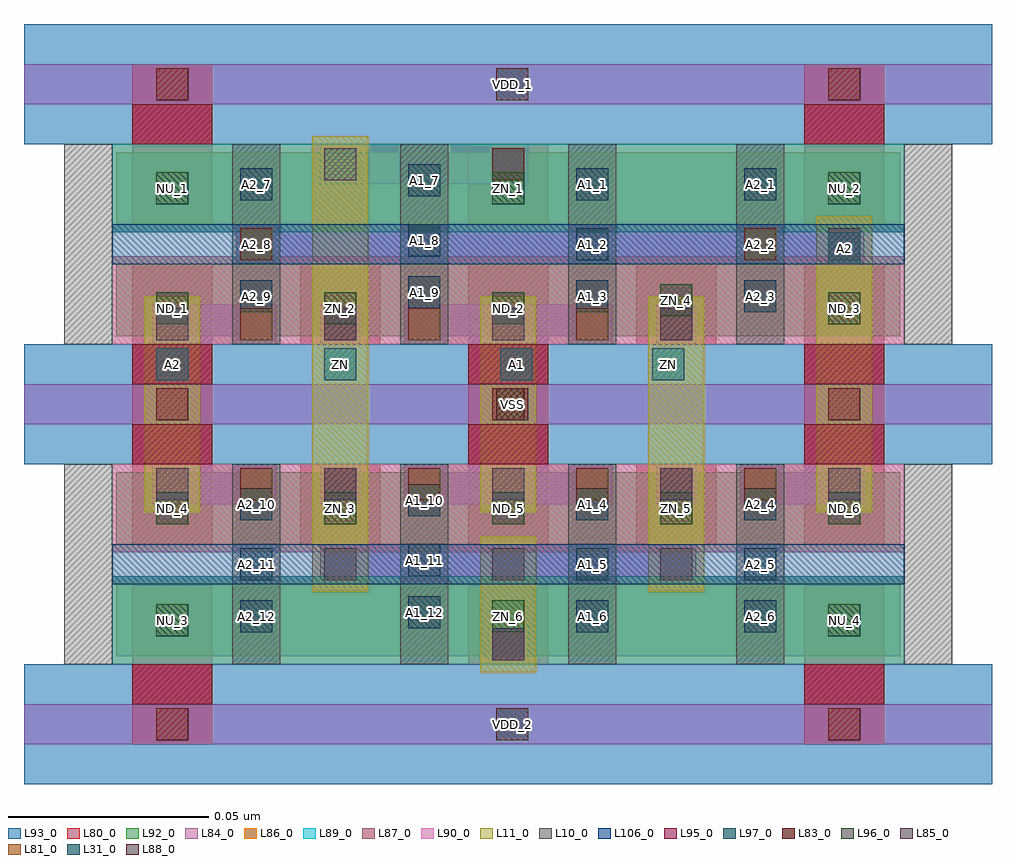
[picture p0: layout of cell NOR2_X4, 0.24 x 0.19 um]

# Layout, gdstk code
import gdstk
lib = gdstk.Library(unit=1e-6, precision=1e-09)
def R(c, l, rs):  # rectangles x0, y0, x1, y1
    for r in rs: c.add(gdstk.rectangle(r[:2], r[2:], *l))
def A(c, l, x, y, w, h, nx, ny, dx, dy):  # array of equal rectangles
    R(c, l, [(x+i*dx, y+j*dy, x+i*dx+w, y+j*dy+h) for i in range(nx) for j in range(ny)])
L10_0 = (10, 0)
L11_0 = (11, 0)
L31_0 = (31, 0)
L80_0 = (80, 0)
L81_0 = (81, 0)
L83_0 = (83, 0)
L84_0 = (84, 0)
L85_0 = (85, 0)
L86_0 = (86, 0)
L87_0 = (87, 0)
L88_0 = (88, 0)
L89_0 = (89, 0)
L90_0 = (90, 0)
L92_0 = (92, 0)
L93_0 = (93, 0)
L95_0 = (95, 0)
L96_0 = (96, 0)
L97_0 = (97, 0)
L106_0 = (106, 0)

nor2_x4 = lib.new_cell('NOR2_X4')
A(nor2_x4, L10_0, -0.027, -0.065, 0.012, 0.05, 6, 2, 0.042, 0.08)
A(nor2_x4, L11_0, -0.007, -0.027, 0.014, 0.034, 5, 2, 0.042, 0.02)
R(nor2_x4, L11_0, [(0.077,-0.067,0.091,-0.033), (0.035,-0.047,0.049,-0.013), (0.119,-0.047,0.133,-0.013), (0.035,0.013,0.049,0.047), (0.161,0.013,0.175,0.047), (0.035,0.033,0.049,0.067)])
R(nor2_x4, L31_0, [(-0.004,0.006,0.004,0.014), (0.038,0.006,0.046,0.014), (0.082,0.006,0.09,0.014), (0.12,0.006,0.128,0.014), (0.164,0.035,0.172,0.043)])
A(nor2_x4, L80_0, -0.01, -0.065, 0.02, 0.02, 3, 1, 0.084, 0)
A(nor2_x4, L80_0, -0.01, -0.024, 0.02, 0.029, 3, 1, 0.084, 0)
A(nor2_x4, L80_0, -0.01, -0.005, 0.02, 0.021, 3, 1, 0.084, 0)
A(nor2_x4, L80_0, -0.01, 0.015, 0.02, 0.02, 5, 1, 0.042, 0)
R(nor2_x4, L80_0, [(-0.01,-0.085,0.01,-0.064), (0.158,-0.085,0.178,-0.064), (-0.01,-0.035,0.01,-0.015), (-0.01,-0.035,0.01,-0.015), (0.032,-0.035,0.052,-0.015), (0.032,-0.035,0.052,-0.015), (0.074,-0.035,0.094,-0.015), (0.074,-0.035,0.094,-0.015), (0.116,-0.035,0.136,-0.015), (0.116,-0.035,0.136,-0.015), (0.158,-0.035,0.178,-0.015), (0.158,-0.035,0.178,-0.015), (-0.01,0.045,0.01,0.065), (-0.01,0.045,0.01,0.065), (0.074,0.045,0.094,0.065), (0.074,0.045,0.094,0.065), (0.158,0.045,0.178,0.065), (0.158,0.045,0.178,0.065), (-0.01,0.056,0.01,0.085), (0.158,0.056,0.178,0.085)])
A(nor2_x4, L81_0, 0.017, -0.024, 0.008, 0.008, 4, 1, 0.042, 0)
A(nor2_x4, L81_0, 0.017, 0.016, 0.008, 0.008, 3, 1, 0.042, 0)
R(nor2_x4, L81_0, [(0.017,0.036,0.025,0.044), (0.143,0.036,0.151,0.044)])
R(nor2_x4, L83_0, [(-0.004,-0.084,0.004,-0.076), (0.164,-0.084,0.172,-0.076), (0.08,-0.064,0.088,-0.056), (0.038,-0.024,0.046,-0.016), (0.122,-0.024,0.13,-0.016), (-0.004,-0.004,0.004,0.004), (-0.004,-0.004,0.004,0.004), (0.08,-0.004,0.088,0.004), (0.08,-0.004,0.088,0.004), (0.164,-0.004,0.172,0.004), (0.164,-0.004,0.172,0.004), (0.038,0.016,0.046,0.024), (0.122,0.016,0.13,0.024), (0.08,0.056,0.088,0.064), (-0.004,0.076,0.004,0.084), (0.164,0.076,0.172,0.084)])
A(nor2_x4, L84_0, -0.037, -0.085, 0.242, 0.01, 1, 3, 0, 0.08)
A(nor2_x4, L84_0, 0.037, -0.045, 0.031, 0.01, 4, 1, 0.021, 0)
A(nor2_x4, L84_0, 0.058, -0.025, 0.031, 0.01, 1, 3, 0, 0.04)
A(nor2_x4, L84_0, 0.016, 0.035, 0.031, 0.01, 7, 1, 0.021, 0)
R(nor2_x4, L84_0, [(0.079,-0.065,0.089,-0.055), (-0.005,-0.025,0.026,-0.015), (0.037,-0.025,0.047,-0.015), (0.079,-0.025,0.11,-0.015), (0.121,-0.025,0.131,-0.015), (0.142,-0.025,0.173,-0.015), (-0.005,0.015,0.026,0.025), (0.037,0.015,0.047,0.025), (0.079,0.015,0.11,0.025), (0.121,0.015,0.131,0.025), (0.037,0.055,0.068,0.065)])
A(nor2_x4, L85_0, 0.038, -0.044, 0.008, 0.008, 3, 1, 0.042, 0)
A(nor2_x4, L85_0, -0.004, -0.024, 0.008, 0.008, 5, 1, 0.042, 0)
A(nor2_x4, L85_0, -0.004, 0.016, 0.008, 0.008, 4, 1, 0.042, 0)
R(nor2_x4, L85_0, [(0.08,-0.064,0.088,-0.056), (0.164,0.036,0.172,0.044), (0.038,0.056,0.046,0.064)])
R(nor2_x4, L86_0, [(-0.015,-0.065,0.183,-0.043), (-0.015,0.043,0.183,0.065)])
R(nor2_x4, L87_0, [(-0.015,-0.037,0.183,-0.015), (-0.015,0.015,0.183,0.037)])
A(nor2_x4, L88_0, 0.081, -0.084, 0.008, 0.008, 1, 3, 0, 0.08)
R(nor2_x4, L89_0, [(-0.015,-0.065,0.183,-0.043), (-0.015,0.043,0.183,0.065)])
R(nor2_x4, L90_0, [(-0.015,-0.037,0.183,-0.015), (-0.015,0.015,0.183,0.037)])
R(nor2_x4, L92_0, [(-0.014,-0.063,0.182,-0.045), (-0.014,-0.035,0.182,-0.017), (-0.014,0.017,0.182,0.035), (-0.014,0.045,0.182,0.063)])
A(nor2_x4, L93_0, -0.037, -0.095, 0.242, 0.03, 1, 3, 0, 0.08)
A(nor2_x4, L95_0, -0.01, -0.015, 0.02, 0.01, 3, 2, 0.084, 0.02)
R(nor2_x4, L95_0, [(-0.01,-0.075,0.01,-0.065), (0.158,-0.075,0.178,-0.065), (-0.01,0.065,0.01,0.075), (0.158,0.065,0.178,0.075)])
A(nor2_x4, L96_0, -0.004, -0.03, 0.008, 0.008, 5, 1, 0.042, 0)
A(nor2_x4, L96_0, -0.004, 0.02, 0.008, 0.008, 3, 1, 0.042, 0)
A(nor2_x4, L96_0, -0.004, 0.05, 0.008, 0.008, 3, 1, 0.084, 0)
R(nor2_x4, L96_0, [(-0.004,-0.058,0.004,-0.05), (0.164,-0.058,0.172,-0.05), (0.08,-0.057,0.088,-0.049), (0.164,0.02,0.172,0.028), (0.122,0.022,0.13,0.03)])
R(nor2_x4, L97_0, [(0.017,-0.057,0.025,-0.049), (0.101,-0.057,0.109,-0.049), (0.143,-0.057,0.151,-0.049), (0.059,-0.056,0.067,-0.048), (0.017,-0.044,0.025,-0.036), (0.101,-0.044,0.109,-0.036), (0.143,-0.044,0.151,-0.036), (0.059,-0.043,0.067,-0.035), (0.017,-0.029,0.025,-0.021), (0.101,-0.029,0.109,-0.021), (0.143,-0.029,0.151,-0.021), (0.059,-0.028,0.067,-0.02), (0.017,0.023,0.025,0.031), (0.101,0.023,0.109,0.031), (0.143,0.023,0.151,0.031), (0.059,0.024,0.067,0.032), (0.017,0.036,0.025,0.044), (0.101,0.036,0.109,0.044), (0.143,0.036,0.151,0.044), (0.059,0.037,0.067,0.045), (0.017,0.051,0.025,0.059), (0.101,0.051,0.109,0.059), (0.143,0.051,0.151,0.059), (0.059,0.052,0.067,0.06)])
R(nor2_x4, L106_0, [(-0.015,-0.045,0.183,-0.035), (-0.015,0.035,0.183,0.045)])
nor2_x4.add(gdstk.Label('A2', (0,0.01), layer=31, texttype=0))
nor2_x4.add(gdstk.Label('ZN', (0.042,0.01), layer=31, texttype=0))
nor2_x4.add(gdstk.Label('ZN', (0.124,0.01), layer=31, texttype=0))
nor2_x4.add(gdstk.Label('A1', (0.086,0.01), layer=31, texttype=0))
nor2_x4.add(gdstk.Label('A2', (0.168,0.039), layer=31, texttype=0))
nor2_x4.add(gdstk.Label('A1_6', (0.105,-0.053), layer=97, texttype=0))
nor2_x4.add(gdstk.Label('A1_5', (0.105,-0.04), layer=97, texttype=0))
nor2_x4.add(gdstk.Label('A1_4', (0.105,-0.025), layer=97, texttype=0))
nor2_x4.add(gdstk.Label('A2_6', (0.147,-0.053), layer=97, texttype=0))
nor2_x4.add(gdstk.Label('A2_5', (0.147,-0.04), layer=97, texttype=0))
nor2_x4.add(gdstk.Label('A2_4', (0.147,-0.025), layer=97, texttype=0))
nor2_x4.add(gdstk.Label('A2_12', (0.021,-0.053), layer=97, texttype=0))
nor2_x4.add(gdstk.Label('A2_11', (0.021,-0.04), layer=97, texttype=0))
nor2_x4.add(gdstk.Label('A2_10', (0.021,-0.025), layer=97, texttype=0))
nor2_x4.add(gdstk.Label('A1_10', (0.063,-0.024), layer=97, texttype=0))
nor2_x4.add(gdstk.Label('A1_11', (0.063,-0.039), layer=97, texttype=0))
nor2_x4.add(gdstk.Label('A1_12', (0.063,-0.052), layer=97, texttype=0))
nor2_x4.add(gdstk.Label('A1_7', (0.063,0.056), layer=97, texttype=0))
nor2_x4.add(gdstk.Label('A1_8', (0.063,0.041), layer=97, texttype=0))
nor2_x4.add(gdstk.Label('A1_9', (0.063,0.028), layer=97, texttype=0))
nor2_x4.add(gdstk.Label('A2_7', (0.021,0.055), layer=97, texttype=0))
nor2_x4.add(gdstk.Label('A2_8', (0.021,0.04), layer=97, texttype=0))
nor2_x4.add(gdstk.Label('A2_9', (0.021,0.027), layer=97, texttype=0))
nor2_x4.add(gdstk.Label('A1_3', (0.105,0.027), layer=97, texttype=0))
nor2_x4.add(gdstk.Label('A1_2', (0.105,0.04), layer=97, texttype=0))
nor2_x4.add(gdstk.Label('A1_1', (0.105,0.055), layer=97, texttype=0))
nor2_x4.add(gdstk.Label('A2_1', (0.147,0.055), layer=97, texttype=0))
nor2_x4.add(gdstk.Label('A2_2', (0.147,0.04), layer=97, texttype=0))
nor2_x4.add(gdstk.Label('A2_3', (0.147,0.027), layer=97, texttype=0))
nor2_x4.add(gdstk.Label('ZN_6', (0.084,-0.053), layer=96, texttype=0))
nor2_x4.add(gdstk.Label('ZN_4', (0.126,0.026), layer=96, texttype=0))
nor2_x4.add(gdstk.Label('ZN_5', (0.126,-0.026), layer=96, texttype=0))
nor2_x4.add(gdstk.Label('ZN_3', (0.042,-0.026), layer=96, texttype=0))
nor2_x4.add(gdstk.Label('ZN_2', (0.042,0.024), layer=96, texttype=0))
nor2_x4.add(gdstk.Label('ZN_1', (0.084,0.054), layer=96, texttype=0))
nor2_x4.add(gdstk.Label('NU_3', (0,-0.054), layer=96, texttype=0))
nor2_x4.add(gdstk.Label('NU_4', (0.168,-0.054), layer=96, texttype=0))
nor2_x4.add(gdstk.Label('ND_6', (0.168,-0.026), layer=96, texttype=0))
nor2_x4.add(gdstk.Label('ND_5', (0.084,-0.026), layer=96, texttype=0))
nor2_x4.add(gdstk.Label('ND_4', (0,-0.026), layer=96, texttype=0))
nor2_x4.add(gdstk.Label('ND_1', (0,0.024), layer=96, texttype=0))
nor2_x4.add(gdstk.Label('ND_3', (0.168,0.024), layer=96, texttype=0))
nor2_x4.add(gdstk.Label('NU_1', (0,0.054), layer=96, texttype=0))
nor2_x4.add(gdstk.Label('NU_2', (0.168,0.054), layer=96, texttype=0))
nor2_x4.add(gdstk.Label('ND_2', (0.084,0.024), layer=96, texttype=0))
nor2_x4.add(gdstk.Label('VDD_1', (0.085,0.08), layer=88, texttype=0))
nor2_x4.add(gdstk.Label('VSS', (0.085,0), layer=88, texttype=0))
nor2_x4.add(gdstk.Label('VDD_2', (0.085,-0.08), layer=88, texttype=0))

lib.write_gds('NOR2_X4.gds')
